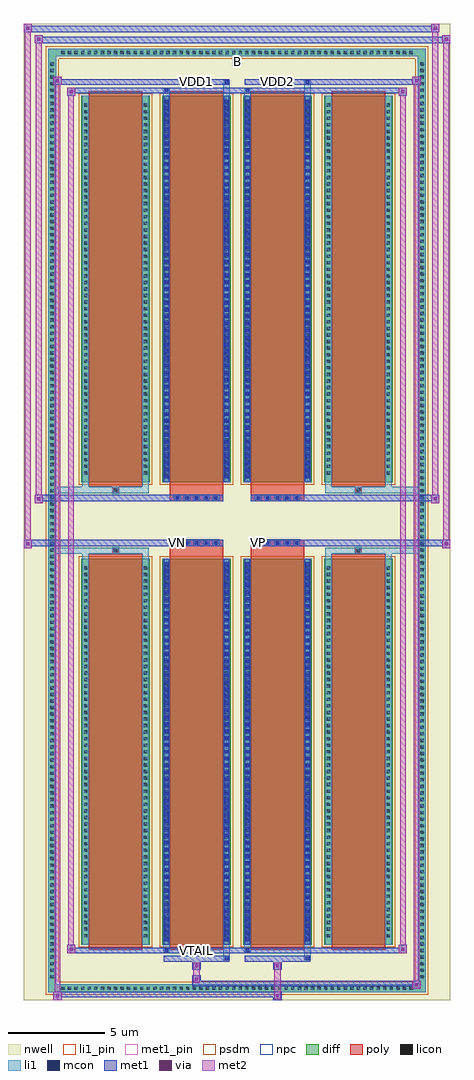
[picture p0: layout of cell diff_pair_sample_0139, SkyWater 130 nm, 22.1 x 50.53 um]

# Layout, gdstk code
import gdstk
lib = gdstk.Library(unit=1e-6, precision=5e-09)
def R(c, l, rs):  # rectangles x0, y0, x1, y1
    for r in rs: c.add(gdstk.rectangle(r[:2], r[2:], *l))
def A(c, l, x, y, w, h, nx, ny, dx, dy):  # array of equal rectangles
    R(c, l, [(x+i*dx, y+j*dy, x+i*dx+w, y+j*dy+h) for i in range(nx) for j in range(ny)])
def P(c, l, *ps):  # polygons
    for p in ps: c.add(gdstk.Polygon(p, *l))
nwell = (64, 20)
diff = (65, 20)
poly = (66, 20)
licon = (66, 44)
li1_pin = (67, 16)
li1 = (67, 20)
mcon = (67, 44)
met1_pin = (68, 16)
met1 = (68, 20)
via = (68, 44)
met2 = (69, 20)
psdm = (94, 20)
npc = (95, 20)

diff_pair_sample_0139 = lib.new_cell('diff_pair_sample_0139')
R(diff_pair_sample_0139, nwell, [(-11.05,-24.83,11.05,25.7), (-8.37,-23.02,-0.01,-0.8), (0.01,-23.02,8.37,-0.8), (-8.37,0.8,-0.01,23.02), (0.01,0.8,8.37,23.02)])
A(diff_pair_sample_0139, diff, -9.215, -24.43, 0.41, 0.41, 54, 2, 0.34, 48.45)
A(diff_pair_sample_0139, diff, -9.78, -23.835, 0.41, 0.41, 1, 140, 0, 0.34)
A(diff_pair_sample_0139, diff, 9.37, -23.835, 0.41, 0.41, 1, 140, 0, 0.34)
A(diff_pair_sample_0139, diff, -8.06, -21.975, 3.55, 19.99, 4, 2, 4.19, 23.96)
R(diff_pair_sample_0139, diff, [(-9.215,-24.43,9.215,-24.02), (-9.78,-23.835,-9.37,23.835), (9.37,-23.835,9.78,23.835), (-9.215,24.02,9.215,24.43)])
P(diff_pair_sample_0139, diff, [(9.78,24.43),(-9.78,24.43),(-9.78,-24.02),(-9.37,-24.02),(-9.37,24.02),(9.37,24.02),(9.37,-24.02),(-9.37,-24.02),(-9.78,-24.02),(-9.78,-24.43),(9.78,-24.43)])
A(diff_pair_sample_0139, poly, -7.67, -22.225, 2.77, 20.49, 4, 2, 4.19, 23.96)
A(diff_pair_sample_0139, poly, -3.26, -1.33, 0.33, 0.33, 5, 2, 0.5, 2.33)
A(diff_pair_sample_0139, poly, 0.93, -1.33, 0.33, 0.33, 5, 2, 0.5, 2.33)
R(diff_pair_sample_0139, poly, [(-6.45,-1.735,-6.12,-1.405), (-6.45,-1.735,-6.12,-1.405), (-3.48,-1.735,-0.71,-1.33), (0.71,-1.735,3.48,-1.33), (6.12,-1.735,6.45,-1.405), (6.12,-1.735,6.45,-1.405), (-3.48,-1.33,-0.71,-1), (0.71,-1.33,3.48,-1), (-3.48,1,-0.71,1.33), (0.71,1,3.48,1.33), (-3.48,1.33,-0.71,1.735), (0.71,1.33,3.48,1.735), (-6.45,1.405,-6.12,1.735), (-6.45,1.405,-6.12,1.735), (6.12,1.405,6.45,1.735), (6.12,1.405,6.45,1.735)])
A(diff_pair_sample_0139, licon, -9.095, -24.31, 0.17, 0.17, 54, 2, 0.34, 48.45)
A(diff_pair_sample_0139, licon, -9.66, -23.715, 0.17, 0.17, 1, 140, 0, 0.34)
A(diff_pair_sample_0139, licon, 9.49, -23.715, 0.17, 0.17, 1, 140, 0, 0.34)
A(diff_pair_sample_0139, licon, -7.92, -21.585, 0.17, 0.17, 1, 57, 0, 0.34)
A(diff_pair_sample_0139, licon, -4.82, -21.585, 0.17, 0.17, 1, 57, 0, 0.34)
A(diff_pair_sample_0139, licon, -3.73, -21.585, 0.17, 0.17, 1, 57, 0, 0.34)
A(diff_pair_sample_0139, licon, -0.63, -21.585, 0.17, 0.17, 1, 57, 0, 0.34)
A(diff_pair_sample_0139, licon, 0.46, -21.585, 0.17, 0.17, 1, 57, 0, 0.34)
A(diff_pair_sample_0139, licon, 3.56, -21.585, 0.17, 0.17, 1, 57, 0, 0.34)
A(diff_pair_sample_0139, licon, 4.65, -21.585, 0.17, 0.17, 1, 57, 0, 0.34)
A(diff_pair_sample_0139, licon, 7.75, -21.585, 0.17, 0.17, 1, 57, 0, 0.34)
A(diff_pair_sample_0139, licon, -3.18, -1.25, 0.17, 0.17, 5, 2, 0.5, 2.33)
A(diff_pair_sample_0139, licon, 1.01, -1.25, 0.17, 0.17, 5, 2, 0.5, 2.33)
A(diff_pair_sample_0139, licon, -7.92, 2.375, 0.17, 0.17, 1, 57, 0, 0.34)
A(diff_pair_sample_0139, licon, -4.82, 2.375, 0.17, 0.17, 1, 57, 0, 0.34)
A(diff_pair_sample_0139, licon, -3.73, 2.375, 0.17, 0.17, 1, 57, 0, 0.34)
A(diff_pair_sample_0139, licon, -0.63, 2.375, 0.17, 0.17, 1, 57, 0, 0.34)
A(diff_pair_sample_0139, licon, 0.46, 2.375, 0.17, 0.17, 1, 57, 0, 0.34)
A(diff_pair_sample_0139, licon, 3.56, 2.375, 0.17, 0.17, 1, 57, 0, 0.34)
A(diff_pair_sample_0139, licon, 4.65, 2.375, 0.17, 0.17, 1, 57, 0, 0.34)
A(diff_pair_sample_0139, licon, 7.75, 2.375, 0.17, 0.17, 1, 57, 0, 0.34)
R(diff_pair_sample_0139, licon, [(-6.37,-1.655,-6.2,-1.485), (6.2,-1.655,6.37,-1.485), (-6.37,1.485,-6.2,1.655), (6.2,1.485,6.37,1.655)])
R(diff_pair_sample_0139, li1_pin, [(-0.25,23.52,0.25,24.02)])
A(diff_pair_sample_0139, li1, -9.175, -24.39, 0.33, 0.33, 54, 2, 0.34, 48.45)
A(diff_pair_sample_0139, li1, -9.74, -23.795, 0.33, 0.33, 1, 140, 0, 0.34)
A(diff_pair_sample_0139, li1, 9.41, -23.795, 0.33, 0.33, 1, 140, 0, 0.34)
A(diff_pair_sample_0139, li1, -3.73, -21.785, 0.17, 0.17, 1, 55, 0, 0.36)
A(diff_pair_sample_0139, li1, -0.63, -21.785, 0.17, 0.17, 1, 55, 0, 0.36)
A(diff_pair_sample_0139, li1, 0.46, -21.785, 0.17, 0.17, 1, 55, 0, 0.36)
A(diff_pair_sample_0139, li1, 3.56, -21.785, 0.17, 0.17, 1, 55, 0, 0.36)
A(diff_pair_sample_0139, li1, -8, -21.665, 0.33, 0.33, 1, 57, 0, 0.34)
A(diff_pair_sample_0139, li1, -4.9, -21.665, 0.33, 0.33, 1, 57, 0, 0.34)
A(diff_pair_sample_0139, li1, -3.81, -21.665, 0.33, 0.33, 1, 57, 0, 0.34)
A(diff_pair_sample_0139, li1, -0.71, -21.665, 0.33, 0.33, 1, 57, 0, 0.34)
A(diff_pair_sample_0139, li1, 0.38, -21.665, 0.33, 0.33, 1, 57, 0, 0.34)
A(diff_pair_sample_0139, li1, 3.48, -21.665, 0.33, 0.33, 1, 57, 0, 0.34)
A(diff_pair_sample_0139, li1, 4.57, -21.665, 0.33, 0.33, 1, 57, 0, 0.34)
A(diff_pair_sample_0139, li1, 7.67, -21.665, 0.33, 0.33, 1, 57, 0, 0.34)
A(diff_pair_sample_0139, li1, -3.26, -1.33, 0.33, 0.33, 5, 2, 0.5, 2.33)
A(diff_pair_sample_0139, li1, 0.93, -1.33, 0.33, 0.33, 5, 2, 0.5, 2.33)
A(diff_pair_sample_0139, li1, -3.73, 2.175, 0.17, 0.17, 1, 55, 0, 0.36)
A(diff_pair_sample_0139, li1, -0.63, 2.175, 0.17, 0.17, 1, 55, 0, 0.36)
A(diff_pair_sample_0139, li1, 0.46, 2.175, 0.17, 0.17, 1, 55, 0, 0.36)
A(diff_pair_sample_0139, li1, 3.56, 2.175, 0.17, 0.17, 1, 55, 0, 0.36)
A(diff_pair_sample_0139, li1, -8, 2.295, 0.33, 0.33, 1, 57, 0, 0.34)
A(diff_pair_sample_0139, li1, -4.9, 2.295, 0.33, 0.33, 1, 57, 0, 0.34)
A(diff_pair_sample_0139, li1, -3.81, 2.295, 0.33, 0.33, 1, 57, 0, 0.34)
A(diff_pair_sample_0139, li1, -0.71, 2.295, 0.33, 0.33, 1, 57, 0, 0.34)
A(diff_pair_sample_0139, li1, 0.38, 2.295, 0.33, 0.33, 1, 57, 0, 0.34)
A(diff_pair_sample_0139, li1, 3.48, 2.295, 0.33, 0.33, 1, 57, 0, 0.34)
A(diff_pair_sample_0139, li1, 4.57, 2.295, 0.33, 0.33, 1, 57, 0, 0.34)
A(diff_pair_sample_0139, li1, 7.67, 2.295, 0.33, 0.33, 1, 57, 0, 0.34)
R(diff_pair_sample_0139, li1, [(-9.78,-24.43,-9.37,-24.02), (-9.78,-24.43,-9.37,-24.02), (-9.37,-24.43,9.37,-24.02), (9.37,-24.43,9.78,-24.02), (9.37,-24.43,9.78,-24.02), (-9.78,-24.02,-9.37,24.02), (9.37,-24.02,9.78,24.02), (-0.71,-22.78,-0.38,-21.975), (-0.63,-22.78,-0.46,-22.61), (3.48,-22.78,3.81,-21.975), (3.56,-22.78,3.73,-22.61), (-3.81,-22.35,-3.48,-21.975), (-3.73,-22.35,-3.56,-22.18), (0.38,-22.35,0.71,-21.975), (0.46,-22.35,0.63,-22.18), (-8,-21.975,-7.67,-1.985), (-4.9,-21.975,-4.57,-1.985), (-3.81,-21.975,-3.48,-1.985), (-0.71,-21.975,-0.38,-1.985), (0.38,-21.975,0.71,-1.985), (3.48,-21.975,3.81,-1.985), (4.57,-21.975,4.9,-1.985), (7.67,-21.975,8,-1.985), (-3.73,-21.785,-3.56,-2.175), (-0.63,-21.785,-0.46,-2.175), (0.46,-21.785,0.63,-2.175), (3.56,-21.785,3.73,-2.175), (-8,-1.985,-7.67,-1.405), (-4.9,-1.985,-4.57,-1.405), (4.57,-1.985,4.9,-1.405), (7.67,-1.985,8,-1.405), (-9.78,-1.735,-6.45,-1.405), (-8,-1.735,-6.45,-1.405), (-6.45,-1.735,-6.12,-1.405), (-6.12,-1.735,-4.57,-1.405), (4.57,-1.735,6.12,-1.405), (6.12,-1.735,6.45,-1.405), (6.12,-1.735,9.78,-1.405), (6.45,-1.735,8,-1.405), (-9.78,1.405,-6.45,1.735), (-8,1.405,-6.45,1.735), (-8,1.405,-7.67,1.985), (-6.45,1.405,-6.12,1.735), (-6.12,1.405,-4.57,1.735), (-4.9,1.405,-4.57,1.985), (4.57,1.405,6.12,1.735), (4.57,1.405,4.9,1.985), (6.12,1.405,6.45,1.735), (6.12,1.405,9.78,1.735), (6.45,1.405,8,1.735), (7.67,1.405,8,1.985), (-8,1.985,-7.67,21.975), (-4.9,1.985,-4.57,21.975), (-3.81,1.985,-3.48,21.975), (-0.71,1.985,-0.38,21.975), (0.38,1.985,0.71,21.975), (3.48,1.985,3.81,21.975), (4.57,1.985,4.9,21.975), (7.67,1.985,8,21.975), (-3.73,2.175,-3.56,21.785), (-0.63,2.175,-0.46,21.785), (0.46,2.175,0.63,21.785), (3.56,2.175,3.73,21.785), (-3.81,21.975,-3.48,22.35), (-0.71,21.975,-0.38,22.78), (0.38,21.975,0.71,22.35), (3.48,21.975,3.81,22.78), (-3.73,22.18,-3.56,22.35), (0.46,22.18,0.63,22.35), (-0.63,22.61,-0.46,22.78), (3.56,22.61,3.73,22.78), (-9.78,24.02,-9.37,24.43), (-9.78,24.02,-9.37,24.43), (-9.37,24.02,9.37,24.43), (9.37,24.02,9.78,24.43), (9.37,24.02,9.78,24.43)])
A(diff_pair_sample_0139, mcon, -3.73, -21.785, 0.17, 0.17, 1, 55, 0, 0.36)
A(diff_pair_sample_0139, mcon, -0.63, -21.785, 0.17, 0.17, 1, 55, 0, 0.36)
A(diff_pair_sample_0139, mcon, 0.46, -21.785, 0.17, 0.17, 1, 55, 0, 0.36)
A(diff_pair_sample_0139, mcon, 3.56, -21.785, 0.17, 0.17, 1, 55, 0, 0.36)
A(diff_pair_sample_0139, mcon, -3.18, -1.25, 0.17, 0.17, 5, 2, 0.5, 2.33)
A(diff_pair_sample_0139, mcon, 1.01, -1.25, 0.17, 0.17, 5, 2, 0.5, 2.33)
A(diff_pair_sample_0139, mcon, -3.73, 2.175, 0.17, 0.17, 1, 55, 0, 0.36)
A(diff_pair_sample_0139, mcon, -0.63, 2.175, 0.17, 0.17, 1, 55, 0, 0.36)
A(diff_pair_sample_0139, mcon, 0.46, 2.175, 0.17, 0.17, 1, 55, 0, 0.36)
A(diff_pair_sample_0139, mcon, 3.56, 2.175, 0.17, 0.17, 1, 55, 0, 0.36)
R(diff_pair_sample_0139, mcon, [(-0.63,-22.78,-0.46,-22.61), (3.56,-22.78,3.73,-22.61), (-3.73,-22.35,-3.56,-22.18), (0.46,-22.35,0.63,-22.18), (-3.73,22.18,-3.56,22.35), (0.46,22.18,0.63,22.35), (-0.63,22.61,-0.46,22.78), (3.56,22.61,3.73,22.78)])
R(diff_pair_sample_0139, met1_pin, [(-2.23,-22.39,-1.96,-22.12), (-3.23,-1.29,-2.96,-1.02), (0.96,-1.29,1.23,-1.02), (-2.23,22.57,-1.96,22.84), (1.96,22.57,2.23,22.84)])
A(diff_pair_sample_0139, met1, -3.79, -21.845, 0.29, 0.29, 1, 55, 0, 0.36)
A(diff_pair_sample_0139, met1, -0.69, -21.845, 0.29, 0.29, 1, 55, 0, 0.36)
A(diff_pair_sample_0139, met1, 0.4, -21.845, 0.29, 0.29, 1, 55, 0, 0.36)
A(diff_pair_sample_0139, met1, 3.5, -21.845, 0.29, 0.29, 1, 55, 0, 0.36)
A(diff_pair_sample_0139, met1, -3.24, -1.31, 0.29, 0.29, 5, 2, 0.5, 2.33)
A(diff_pair_sample_0139, met1, 0.95, -1.31, 0.29, 0.29, 5, 2, 0.5, 2.33)
A(diff_pair_sample_0139, met1, -3.79, 2.115, 0.29, 0.29, 1, 55, 0, 0.36)
A(diff_pair_sample_0139, met1, -0.69, 2.115, 0.29, 0.29, 1, 55, 0, 0.36)
A(diff_pair_sample_0139, met1, 0.4, 2.115, 0.29, 0.29, 1, 55, 0, 0.36)
A(diff_pair_sample_0139, met1, 3.5, 2.115, 0.29, 0.29, 1, 55, 0, 0.36)
R(diff_pair_sample_0139, met1, [(-9.51,-24.83,-9.08,-24.4), (1.88,-24.83,2.31,-24.4), (-9.51,-24.69,2.31,-24.4), (9.08,-24.26,9.51,-23.83), (-2.31,-24.12,9.51,-23.83), (-2.31,-23.98,-1.88,-23.55), (-2.31,-23.27,-1.88,-22.84), (1.88,-23.27,2.31,-22.84), (-3.79,-22.84,-0.4,-22.55), (-0.69,-22.84,-0.4,-22.55), (0.4,-22.84,3.79,-22.55), (3.5,-22.84,3.79,-22.55), (-8.8,-22.41,-8.37,-21.98), (-8.8,-22.41,-3.79,-22.12), (-3.79,-22.41,-3.5,-22.12), (-3.79,-22.41,-0.4,-22.12), (-0.4,-22.41,0.4,-22.12), (0.4,-22.41,0.69,-22.12), (0.4,-22.41,3.79,-22.12), (3.79,-22.41,8.8,-22.12), (8.37,-22.41,8.8,-21.98), (-3.79,-21.975,-3.5,-1.985), (-0.69,-21.975,-0.4,-1.985), (0.4,-21.975,0.69,-1.985), (3.5,-21.975,3.79,-1.985), (-11.05,-1.43,-10.62,-1), (10.62,-1.43,11.05,-1), (-11.05,-1.33,-0.71,-1), (-3.48,-1.33,-0.71,-1), (0.71,-1.33,3.48,-1), (0.71,-1.33,11.05,-1), (-10.48,0.9,-10.05,1.33), (10.05,0.9,10.48,1.33), (-10.48,1,-3.48,1.33), (-3.48,1,-0.71,1.33), (0.71,1,3.48,1.33), (3.48,1,10.48,1.33), (-3.79,1.985,-3.5,21.975), (-0.69,1.985,-0.4,21.975), (0.4,1.985,0.69,21.975), (3.5,1.985,3.79,21.975), (-8.8,21.98,-8.37,22.41), (8.37,21.98,8.8,22.41), (-8.8,22.12,-3.79,22.41), (-3.79,22.12,-3.5,22.41), (-3.79,22.12,-0.4,22.41), (-0.4,22.12,0.4,22.41), (0.4,22.12,0.69,22.41), (0.4,22.12,3.79,22.41), (3.79,22.12,8.8,22.41), (-9.51,22.55,-9.08,22.98), (-9.51,22.55,-3.79,22.84), (-3.79,22.55,-0.4,22.84), (-0.69,22.55,-0.4,22.84), (0.4,22.55,3.79,22.84), (3.5,22.55,3.79,22.84), (3.79,22.55,9.51,22.84), (9.08,22.55,9.51,22.98), (-10.48,24.7,-10.05,25.13), (-10.48,24.7,-8.37,25.03), (-8.37,24.7,8.37,25.03), (8.37,24.7,11.05,25.03), (10.62,24.7,11.05,25.13), (-11.05,25.27,-10.62,25.7), (-11.05,25.27,-8.37,25.6), (-8.37,25.27,8.37,25.6), (8.37,25.27,10.48,25.6), (10.05,25.27,10.48,25.7)])
R(diff_pair_sample_0139, via, [(-9.37,-24.69,-9.22,-24.54), (2.02,-24.69,2.17,-24.54), (9.22,-24.12,9.37,-23.97), (-2.17,-23.84,-2.02,-23.69), (-2.17,-23.13,-2.02,-22.98), (2.02,-23.13,2.17,-22.98), (-8.66,-22.27,-8.51,-22.12), (8.51,-22.27,8.66,-22.12), (-10.91,-1.29,-10.76,-1.14), (10.76,-1.29,10.91,-1.14), (-10.34,1.04,-10.19,1.19), (10.19,1.04,10.34,1.19), (-8.66,22.12,-8.51,22.27), (8.51,22.12,8.66,22.27), (-9.37,22.69,-9.22,22.84), (9.22,22.69,9.37,22.84), (-10.34,24.84,-10.19,24.99), (10.76,24.84,10.91,24.99), (-10.91,25.41,-10.76,25.56), (10.19,25.41,10.34,25.56)])
R(diff_pair_sample_0139, met2, [(-9.51,-24.83,-9.08,-24.4), (-9.44,-24.83,-9.15,22.98), (-9.15,-24.83,-9.08,-24.4), (-9.46,-24.78,-9.13,-24.45), (1.93,-24.78,2.26,-24.45), (1.93,-24.45,2.26,-23.22), (9.08,-24.26,9.51,-23.83), (9.15,-24.26,9.44,22.98), (9.44,-24.26,9.51,-23.83), (9.13,-24.21,9.46,-23.88), (-2.26,-23.93,-1.93,-23.6), (-2.26,-23.6,-1.93,-23.22), (-2.26,-23.22,-1.93,-22.89), (1.93,-23.22,2.26,-22.89), (-8.8,-22.41,-8.37,-21.98), (-8.73,-22.41,-8.44,22.41), (-8.44,-22.41,-8.37,-21.98), (8.37,-22.41,8.8,-21.98), (8.44,-22.41,8.73,22.41), (8.73,-22.41,8.8,-21.98), (-8.75,-22.36,-8.42,-22.03), (8.42,-22.36,8.75,-22.03), (-11.05,-1.43,-10.62,-1), (-11,-1.43,-10.67,25.7), (-10.67,-1.43,-10.62,-1), (10.62,-1.43,11.05,-1), (10.67,-1.43,11,25.13), (11,-1.43,11.05,-1), (-11,-1.38,-10.67,-1.05), (10.67,-1.38,11,-1.05), (-10.48,0.9,-10.05,1.33), (-10.43,0.9,-10.1,25.13), (-10.1,0.9,-10.05,1.33), (10.05,0.9,10.48,1.33), (10.1,0.9,10.43,25.7), (10.43,0.9,10.48,1.33), (-10.43,0.95,-10.1,1.28), (10.1,0.95,10.43,1.28), (-8.8,21.98,-8.37,22.41), (-8.44,21.98,-8.37,22.41), (8.37,21.98,8.8,22.41), (8.73,21.98,8.8,22.41), (-8.75,22.03,-8.42,22.36), (8.42,22.03,8.75,22.36), (-9.51,22.55,-9.08,22.98), (-9.15,22.55,-9.08,22.98), (9.08,22.55,9.51,22.98), (9.44,22.55,9.51,22.98), (-9.46,22.6,-9.13,22.93), (9.13,22.6,9.46,22.93), (-10.48,24.7,-10.05,25.13), (-10.1,24.7,-10.05,25.13), (10.62,24.7,11.05,25.13), (11,24.7,11.05,25.13), (-10.43,24.75,-10.1,25.08), (10.67,24.75,11,25.08), (-11.05,25.27,-10.62,25.7), (-10.67,25.27,-10.62,25.7), (10.05,25.27,10.48,25.7), (10.43,25.27,10.48,25.7), (-11,25.32,-10.67,25.65), (10.1,25.32,10.43,25.65)])
A(diff_pair_sample_0139, psdm, -8.19, -22.105, 3.81, 20.25, 4, 2, 4.19, 23.96)
P(diff_pair_sample_0139, psdm, [(9.91,24.56),(-9.91,24.56),(-9.91,-23.89),(-9.24,-23.89),(-9.24,23.89),(9.24,23.89),(9.24,-23.89),(-9.24,-23.89),(-9.91,-23.89),(-9.91,-24.56),(9.91,-24.56)])
A(diff_pair_sample_0139, npc, -3.28, -1.35, 0.37, 0.37, 5, 2, 0.5, 2.33)
A(diff_pair_sample_0139, npc, 0.91, -1.35, 0.37, 0.37, 5, 2, 0.5, 2.33)
R(diff_pair_sample_0139, npc, [(-6.47,-1.755,-6.1,-1.385), (6.1,-1.755,6.47,-1.385), (-3.28,-1.35,-2.41,-0.98), (-3.28,-1.35,-2.41,-0.98), (-2.78,-1.35,-1.91,-0.98), (-2.78,-1.35,-1.91,-0.98), (-2.28,-1.35,-1.41,-0.98), (-2.28,-1.35,-1.41,-0.98), (-1.78,-1.35,-0.91,-0.98), (-1.78,-1.35,-0.91,-0.98), (0.91,-1.35,1.78,-0.98), (0.91,-1.35,1.78,-0.98), (1.41,-1.35,2.28,-0.98), (1.41,-1.35,2.28,-0.98), (1.91,-1.35,2.78,-0.98), (1.91,-1.35,2.78,-0.98), (2.41,-1.35,3.28,-0.98), (2.41,-1.35,3.28,-0.98), (-3.28,0.98,-2.41,1.35), (-3.28,0.98,-2.41,1.35), (-2.78,0.98,-1.91,1.35), (-2.78,0.98,-1.91,1.35), (-2.28,0.98,-1.41,1.35), (-2.28,0.98,-1.41,1.35), (-1.78,0.98,-0.91,1.35), (-1.78,0.98,-0.91,1.35), (0.91,0.98,1.78,1.35), (0.91,0.98,1.78,1.35), (1.41,0.98,2.28,1.35), (1.41,0.98,2.28,1.35), (1.91,0.98,2.78,1.35), (1.91,0.98,2.78,1.35), (2.41,0.98,3.28,1.35), (2.41,0.98,3.28,1.35), (-6.47,1.385,-6.1,1.755), (6.1,1.385,6.47,1.755)])
diff_pair_sample_0139.add(gdstk.Label('VTAIL', (-2.095,-22.255), layer=68, texttype=5))
diff_pair_sample_0139.add(gdstk.Label('VN', (-3.095,-1.155), layer=68, texttype=5))
diff_pair_sample_0139.add(gdstk.Label('VP', (1.095,-1.155), layer=68, texttype=5))
diff_pair_sample_0139.add(gdstk.Label('B', (0,23.77), layer=67, texttype=5))
diff_pair_sample_0139.add(gdstk.Label('VDD2', (2.095,22.705), layer=68, texttype=5))
diff_pair_sample_0139.add(gdstk.Label('VDD1', (-2.095,22.705), layer=68, texttype=5))

lib.write_gds('diff_pair_sample_0139.gds')
